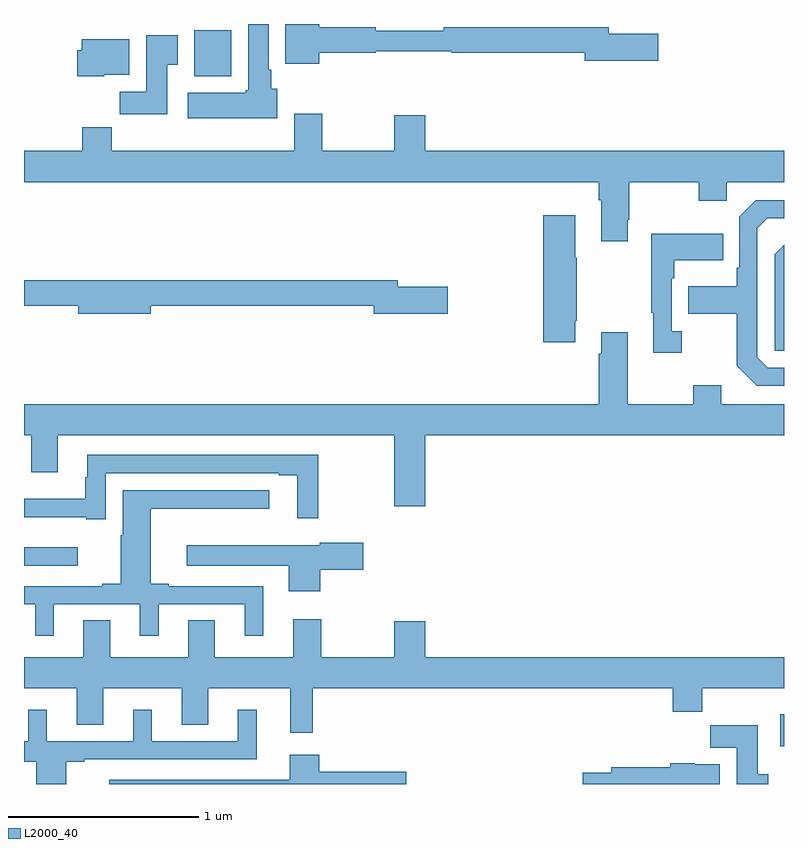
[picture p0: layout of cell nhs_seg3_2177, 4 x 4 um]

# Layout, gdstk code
import gdstk
lib = gdstk.Library(unit=1e-6, precision=1e-09)
def R(c, l, rs):  # rectangles x0, y0, x1, y1
    for r in rs: c.add(gdstk.rectangle(r[:2], r[2:], *l))
def P(c, l, *ps):  # polygons
    for p in ps: c.add(gdstk.Polygon(p, *l))
L2000_40 = (2000, 40)

nhs_seg3_2177 = lib.new_cell('nhs_seg3_2177')
R(nhs_seg3_2177, L2000_40, [(226.979,712.598,227,712.768), (223,713.55,223.282,713.647), (223.895,716.126,224.092,716.368)])
P(nhs_seg3_2177, L2000_40, [(224.554,716.248),(224.85,716.248),(224.85,716.256),(225.252,716.256),(225.252,716.248),(225.95,716.248),(225.95,716.206),(226.339,716.206),(226.339,716.348),(226.078,716.348),(226.078,716.384),(225.208,716.384),(225.208,716.365),(224.852,716.365),(224.852,716.384),(224.554,716.384),(224.554,716.4),(224.375,716.4),(224.375,716.192),(224.554,716.192)],
  [(224.332,716.058),(224.302,716.058),(224.302,716.158),(224.287,716.158),(224.287,716.4),(224.18,716.4),(224.18,716.052),(224.167,716.052),(224.167,716.038),(223.863,716.038),(223.863,715.904),(224.332,715.904)],
  [(223.753,716.185),(223.81,716.185),(223.81,716.341),(223.643,716.341),(223.643,716.044),(223.504,716.044),(223.504,715.926),(223.753,715.926)],
  [(223.422,716.132),(223.555,716.132),(223.555,716.32),(223.304,716.32),(223.304,716.262),(223.279,716.262),(223.279,716.126),(223.422,716.126)],
  [(226.177,715.369),(226.185,715.369),(226.185,715.568),(226.552,715.568),(226.552,715.469),(226.698,715.469),(226.698,715.568),(227,715.568),(227,715.732),(225.112,715.732),(225.112,715.921),(224.948,715.921),(224.948,715.732),(224.571,715.732),(224.571,715.927),(224.423,715.927),(224.423,715.732),(223.463,715.732),(223.463,715.856),(223.307,715.856),(223.307,715.732),(223,715.732),(223,715.568),(226.025,715.568),(226.025,715.472),(226.037,715.472),(226.037,715.257),(226.177,715.257)],
  [(227,714.591),(226.914,714.591),(226.86,714.645),(226.86,715.326),(226.911,715.377),(227,715.377),(227,715.473),(226.851,715.473),(226.764,715.386),(226.764,715.117),(226.752,715.117),(226.752,715.021),(226.495,715.021),(226.495,714.874),(226.752,714.874),(226.752,714.601),(226.857,714.495),(227,714.495)],
  [(225.901,714.838),(225.909,714.838),(225.909,715.169),(225.901,715.169),(225.901,715.393),(225.734,715.393),(225.734,714.726),(225.901,714.726)],
  [(226.462,714.782),(226.41,714.782),(226.41,715.061),(226.423,715.061),(226.423,715.157),(226.679,715.157),(226.679,715.297),(226.302,715.297),(226.302,714.881),(226.313,714.881),(226.313,714.669),(226.462,714.669)],
  [(227,715.238),(226.95,715.188),(226.95,714.681),(227,714.681)],
  [(223.666,714.916),(224.84,714.916),(224.84,714.874),(225.229,714.874),(225.229,715.016),(224.968,715.016),(224.968,715.052),(223,715.052),(223,714.916),(223.286,714.916),(223.286,714.874),(223.666,714.874)],
  [(225.112,714.236),(227,714.236),(227,714.4),(226.669,714.4),(226.669,714.499),(226.522,714.499),(226.522,714.4),(226.177,714.4),(226.177,714.778),(226.037,714.778),(226.037,714.665),(226.025,714.665),(226.025,714.4),(223,714.4),(223,714.236),(223.037,714.236),(223.037,714.042),(223.177,714.042),(223.177,714.236),(224.948,714.236),(224.948,713.862),(225.112,713.862)],
  [(223.431,714.036),(224.342,714.036),(224.342,714.024),(224.438,714.024),(224.438,713.799),(224.548,713.799),(224.548,714.132),(223.334,714.132),(223.334,714.014),(223.323,714.014),(223.323,713.902),(223,713.902),(223,713.804),(223.328,713.804),(223.328,713.793),(223.431,713.793)],
  [(223.156,713.346),(223.61,713.346),(223.61,713.181),(223.708,713.181),(223.708,713.346),(224.162,713.346),(224.162,713.181),(224.26,713.181),(224.26,713.442),(223.762,713.442),(223.762,713.455),(223.666,713.455),(223.666,713.849),(224.29,713.849),(224.29,713.946),(223.52,713.946),(223.52,713.709),(223.508,713.709),(223.508,713.455),(223.412,713.455),(223.412,713.442),(223,713.442),(223,713.346),(223.058,713.346),(223.058,713.181),(223.156,713.181)],
  [(224.56,713.527),(224.785,713.527),(224.785,713.669),(224.556,713.669),(224.556,713.656),(223.857,713.656),(223.857,713.549),(224.393,713.549),(224.393,713.415),(224.56,713.415)],
  [(224.519,712.904),(226.415,712.904),(226.415,712.78),(226.571,712.78),(226.571,712.904),(227,712.904),(227,713.068),(225.112,713.068),(225.112,713.257),(224.948,713.257),(224.948,713.068),(224.565,713.068),(224.565,713.266),(224.417,713.266),(224.417,713.068),(224.005,713.068),(224.005,713.261),(223.865,713.261),(223.865,713.068),(223.453,713.068),(223.453,713.261),(223.313,713.261),(223.313,713.068),(223,713.068),(223,712.904),(223.277,712.904),(223.277,712.711),(223.417,712.711),(223.417,712.904),(223.829,712.904),(223.829,712.711),(223.969,712.711),(223.969,712.904),(224.402,712.904),(224.402,712.671),(224.519,712.671)],
  [(223.222,712.518),(223.318,712.518),(223.318,712.53),(224.225,712.53),(224.225,712.792),(224.126,712.792),(224.126,712.626),(223.672,712.626),(223.672,712.792),(223.574,712.792),(223.574,712.626),(223.12,712.626),(223.12,712.792),(223.022,712.792),(223.022,712.626),(223,712.626),(223,712.518),(223.064,712.518),(223.064,712.4),(223.222,712.4)],
  [(226.918,712.452),(226.861,712.452),(226.861,712.71),(226.612,712.71),(226.612,712.592),(226.751,712.592),(226.751,712.4),(226.918,712.4)],
  [(225.011,712.465),(224.555,712.465),(224.555,712.555),(224.399,712.555),(224.399,712.422),(223.449,712.422),(223.449,712.4),(225.011,712.4)],
  [(226.663,712.504),(226.53,712.504),(226.53,712.51),(226.4,712.51),(226.4,712.488),(226.091,712.488),(226.091,712.458),(225.942,712.458),(225.942,712.4),(226.663,712.4)])

lib.write_gds('nhs_seg3_2177.gds')
